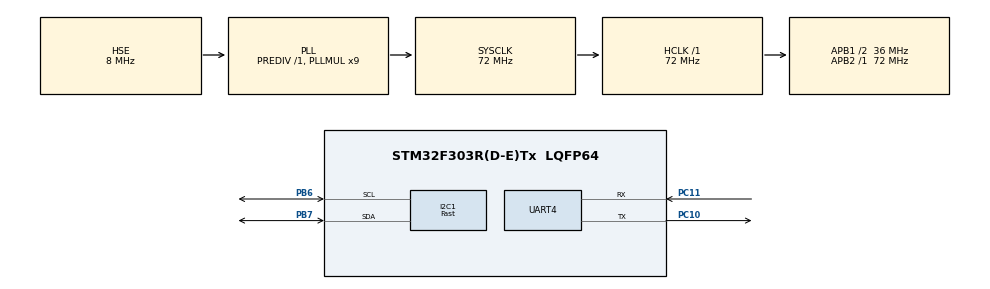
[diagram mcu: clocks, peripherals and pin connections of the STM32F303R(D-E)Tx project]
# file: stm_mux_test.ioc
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I2C1.I2C_Speed_Mode=I2C_Fast
I2C1.Timing=0x0010020A
Mcu.Family=STM32F3
Mcu.Name=STM32F303R(D-E)Tx
Mcu.Package=LQFP64
NVIC.I2C1_ER_IRQn=true\:0\:0\:false\:false\:true\:true\:true\:true
NVIC.I2C1_EV_IRQn=true\:0\:0\:false\:false\:true\:true\:true\:true
NVIC.PriorityGroup=NVIC_PRIORITYGROUP_4
NVIC.UART4_IRQn=true\:0\:0\:false\:false\:true\:true\:true\:true
PB6.GPIO_Pu=GPIO_PULLUP
PB6.Mode=I2C
PB6.Signal=I2C1_SCL
PB7.GPIO_Pu=GPIO_PULLUP
PB7.Mode=I2C
PB7.Signal=I2C1_SDA
PC10.Mode=Asynchronous
PC10.Signal=UART4_TX
PC11.Mode=Asynchronous
PC11.Signal=UART4_RX
PC14-OSC32_IN.Mode=LSE-External-Oscillator
PC14-OSC32_IN.Signal=RCC_OSC32_IN
PC15-OSC32_OUT.Mode=LSE-External-Oscillator
PC15-OSC32_OUT.Signal=RCC_OSC32_OUT
PF0-OSC_IN.Mode=HSE-External-Oscillator
PF0-OSC_IN.Signal=RCC_OSC_IN
PF1-OSC_OUT.Mode=HSE-External-Oscillator
PF1-OSC_OUT.Signal=RCC_OSC_OUT
ProjectManager.HeapSize=0x200
ProjectManager.StackSize=0x400
ProjectManager.TargetToolchain=STM32CubeIDE
RCC.AHBFreq_Value=72000000
RCC.APB1CLKDivider=RCC_HCLK_DIV2
RCC.APB1Freq_Value=36000000
RCC.APB1TimFreq_Value=72000000
RCC.APB2Freq_Value=72000000
RCC.APB2TimFreq_Value=72000000
RCC.CortexFreq_Value=72000000
RCC.HCLKFreq_Value=72000000
RCC.HSE_VALUE=8000000
RCC.HSI_VALUE=8000000
RCC.PLLMUL=RCC_PLL_MUL9
RCC.PLLSourceVirtual=RCC_PLLSOURCE_HSE
RCC.SYSCLKFreq_VALUE=72000000
RCC.SYSCLKSourceVirtual=RCC_SYSCLKSOURCE_PLLCLK
RCC.USBFreq_Value=72000000
board=custom

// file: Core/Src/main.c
/* USER CODE BEGIN Header */
/**
  ******************************************************************************
  * @file           : main.c
  * @brief          : Main program body
  ******************************************************************************
  * @attention
  *
  * Copyright (c) 2025 STMicroelectronics.
  * All rights reserved.
  *
  * This software is licensed under terms that can be found in the LICENSE file
  * in the root directory of this software component.
  * If no LICENSE file comes with this software, it is provided AS-IS.
  *
  ******************************************************************************
  */
/* USER CODE END Header */
#include "main.h"

/* USER CODE BEGIN Includes */
#include "stdio.h"
#include "string.h"
#define NUM_ENCODERS 2
#define AS5600_ADDRESS (0x36 << 1)
#define TCA9548A_ADDRESS (0x70 << 1)
/* USER CODE END Includes */

/* USER CODE BEGIN PD */
char Buffer[25] = {0};
uint8_t Space[] = " - ";
uint8_t StartMSG[] = "Starting I2C Scanning: \r\n";
uint8_t EndMSG[] = "Done! \r\n\r\n";
uint8_t TxData_buf[2*NUM_ENCODERS + 1];
/* USER CODE END PD */

I2C_HandleTypeDef hi2c1;

UART_HandleTypeDef huart4;

void SystemClock_Config(void);
static void MX_GPIO_Init(void);
static void MX_I2C1_Init(void);
static void MX_UART4_Init(void);

/* USER CODE BEGIN 0 */

char err[100];

volatile float raw_angle;

float RawToDegrees(uint16_t raw_value) {
    // AS5600 has 4096 positions per 360 degrees
    float angle = (float)(raw_value) * 360.0f / 4096.0f;
    return angle;
}

void select_mux_channel(uint8_t ch) {
    uint8_t data = (1 << ch);
    if (HAL_I2C_Master_Transmit(&hi2c1, TCA9548A_ADDRESS, &data, 1, HAL_MAX_DELAY) == HAL_OK) {
    	sprintf(err, "Switched to channel %d\r\n", ch);
    	//HAL_UART_Transmit(&huart4, (uint8_t *) err, strlen(err), 1000);
    }

    HAL_Delay(50);

}

void read_magnetic_encoder(void)
{
    uint8_t buf[2];

    for (uint8_t i = 0; i < NUM_ENCODERS; i++)
    {
        select_mux_channel(i);

        HAL_StatusTypeDef st =
            HAL_I2C_Mem_Read(&hi2c1,  AS5600_ADDRESS, 0x0E, I2C_MEMADD_SIZE_8BIT, buf, 2, HAL_MAX_DELAY);

        if (st != HAL_OK) {
            TxData_buf[2*i] = 0;
            TxData_buf[2*i + 1] = 0;
            continue;
        }

        uint16_t raw = ((uint16_t)buf[0] << 8) | buf[1];

        raw &= 0x0FFF;

        raw_angle = RawToDegrees(raw);

        uint16_t scaled = (uint16_t)(raw_angle * 100);

        TxData_buf[2*i] = (scaled >> 8) & 0xFF;
        TxData_buf[2*i + 1] = scaled & 0xFF;
    }
}

/* USER CODE END 0 */

int main(void)
{

  /* USER CODE BEGIN 1 */
	uint8_t i = 0, ret;
  /* USER CODE END 1 */

  /* MCU Configuration--------------------------------------------------------*/

  /* Reset of all peripherals, Initializes the Flash interface and the Systick. */
  HAL_Init();

  /* Configure the system clock */
  SystemClock_Config();

  /* Initialize all configured peripherals */
  MX_GPIO_Init();
  MX_I2C1_Init();
  MX_UART4_Init();
  /* USER CODE BEGIN 2 */
  HAL_Delay(1000);

  /*-[ I2C Bus Scanning ]-*/
  HAL_UART_Transmit(&huart4, StartMSG, sizeof(StartMSG), 10000);
  for(i=1; i<128; i++)
  {
      ret = HAL_I2C_IsDeviceReady(&hi2c1, (uint16_t)(i<<1), 3, 5);
      if (ret != HAL_OK) /* No ACK Received At That Address */
      {
          HAL_UART_Transmit(&huart4, Space, sizeof(Space), 10000);
      }
      else if(ret == HAL_OK)
      {
          sprintf(Buffer, "0x%X", i);
          HAL_UART_Transmit(&huart4, (uint8_t *)Buffer, sizeof(Buffer), 10000);
      }
  }
  HAL_UART_Transmit(&huart4, EndMSG, sizeof(EndMSG), 10000);

  HAL_Delay(2000);
  /*--[ Scanning Done ]--*/
  /* USER CODE END 2 */

  /* Infinite loop */
  /* USER CODE BEGIN WHILE */
  while (1)
  {
	  read_magnetic_encoder();
	  TxData_buf[2*NUM_ENCODERS] = '\n';

	HAL_UART_Transmit(&huart4, TxData_buf, 2*NUM_ENCODERS + 1, 100);

	HAL_Delay(10); // delay between magnetic encoder data
    /* USER CODE END WHILE */

  }
}

void SystemClock_Config(void)
{
  RCC_OscInitTypeDef RCC_OscInitStruct = {0};
  RCC_ClkInitTypeDef RCC_ClkInitStruct = {0};
  RCC_PeriphCLKInitTypeDef PeriphClkInit = {0};

  /** Initializes the RCC Oscillators according to the specified parameters
  * in the RCC_OscInitTypeDef structure.
  */
  RCC_OscInitStruct.OscillatorType = RCC_OSCILLATORTYPE_HSI|RCC_OSCILLATORTYPE_HSE;
  RCC_OscInitStruct.HSEState = RCC_HSE_ON;
  RCC_OscInitStruct.HSIState = RCC_HSI_ON;
  RCC_OscInitStruct.HSICalibrationValue = RCC_HSICALIBRATION_DEFAULT;
  RCC_OscInitStruct.PLL.PLLState = RCC_PLL_ON;
  RCC_OscInitStruct.PLL.PLLSource = RCC_PLLSOURCE_HSE;
  RCC_OscInitStruct.PLL.PLLMUL = RCC_PLL_MUL9;
  RCC_OscInitStruct.PLL.PREDIV = RCC_PREDIV_DIV1;
  if (HAL_RCC_OscConfig(&RCC_OscInitStruct) != HAL_OK)
  {
    Error_Handler();
  }

  /** Initializes the CPU, AHB and APB buses clocks
  */
  RCC_ClkInitStruct.ClockType = RCC_CLOCKTYPE_HCLK|RCC_CLOCKTYPE_SYSCLK
                              |RCC_CLOCKTYPE_PCLK1|RCC_CLOCKTYPE_PCLK2;
  RCC_ClkInitStruct.SYSCLKSource = RCC_SYSCLKSOURCE_PLLCLK;
  RCC_ClkInitStruct.AHBCLKDivider = RCC_SYSCLK_DIV1;
  RCC_ClkInitStruct.APB1CLKDivider = RCC_HCLK_DIV2;
  RCC_ClkInitStruct.APB2CLKDivider = RCC_HCLK_DIV1;

  if (HAL_RCC_ClockConfig(&RCC_ClkInitStruct, FLASH_LATENCY_2) != HAL_OK)
  {
    Error_Handler();
  }
  PeriphClkInit.PeriphClockSelection = RCC_PERIPHCLK_UART4|RCC_PERIPHCLK_I2C1;
  PeriphClkInit.Uart4ClockSelection = RCC_UART4CLKSOURCE_PCLK1;
  PeriphClkInit.I2c1ClockSelection = RCC_I2C1CLKSOURCE_HSI;
  if (HAL_RCCEx_PeriphCLKConfig(&PeriphClkInit) != HAL_OK)
  {
    Error_Handler();
  }
}

static void MX_I2C1_Init(void)
{

  hi2c1.Instance = I2C1;
  hi2c1.Init.Timing = 0x0010020A;
  hi2c1.Init.OwnAddress1 = 0;
  hi2c1.Init.AddressingMode = I2C_ADDRESSINGMODE_7BIT;
  hi2c1.Init.DualAddressMode = I2C_DUALADDRESS_DISABLE;
  hi2c1.Init.OwnAddress2 = 0;
  hi2c1.Init.OwnAddress2Masks = I2C_OA2_NOMASK;
  hi2c1.Init.GeneralCallMode = I2C_GENERALCALL_DISABLE;
  hi2c1.Init.NoStretchMode = I2C_NOSTRETCH_DISABLE;
  if (HAL_I2C_Init(&hi2c1) != HAL_OK)
  {
    Error_Handler();
  }

  /** Configure Analogue filter
  */
  if (HAL_I2CEx_ConfigAnalogFilter(&hi2c1, I2C_ANALOGFILTER_ENABLE) != HAL_OK)
  {
    Error_Handler();
  }

  /** Configure Digital filter
  */
  if (HAL_I2CEx_ConfigDigitalFilter(&hi2c1, 0) != HAL_OK)
  {
    Error_Handler();
  }

}

static void MX_UART4_Init(void)
{

  huart4.Instance = UART4;
  huart4.Init.BaudRate = 115200;
  huart4.Init.WordLength = UART_WORDLENGTH_8B;
  huart4.Init.StopBits = UART_STOPBITS_1;
  huart4.Init.Parity = UART_PARITY_NONE;
  huart4.Init.Mode = UART_MODE_TX_RX;
  huart4.Init.HwFlowCtl = UART_HWCONTROL_NONE;
  huart4.Init.OverSampling = UART_OVERSAMPLING_16;
  huart4.Init.OneBitSampling = UART_ONE_BIT_SAMPLE_DISABLE;
  huart4.AdvancedInit.AdvFeatureInit = UART_ADVFEATURE_NO_INIT;
  if (HAL_UART_Init(&huart4) != HAL_OK)
  {
    Error_Handler();
  }

}

static void MX_GPIO_Init(void)
{

  /* GPIO Ports Clock Enable */
  __HAL_RCC_GPIOC_CLK_ENABLE();
  __HAL_RCC_GPIOF_CLK_ENABLE();
  __HAL_RCC_GPIOB_CLK_ENABLE();

}

void Error_Handler(void)
{
  __disable_irq();
  while (1)
  {
  }
}
